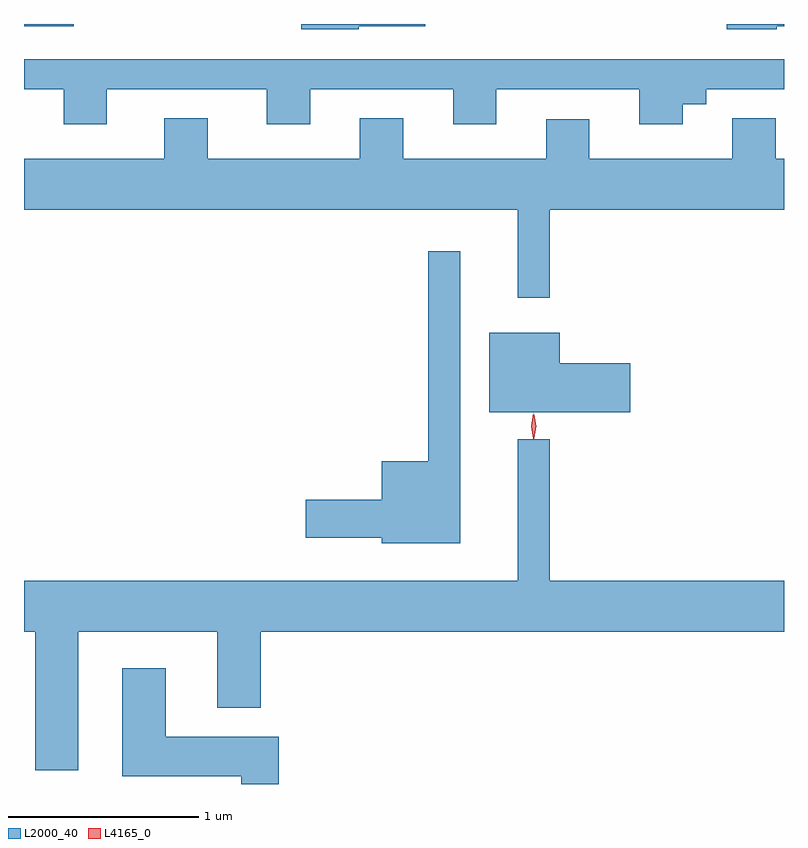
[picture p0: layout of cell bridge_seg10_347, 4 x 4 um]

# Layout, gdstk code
import gdstk
lib = gdstk.Library(unit=1e-6, precision=1e-09)
def R(c, l, rs):  # rectangles x0, y0, x1, y1
    for r in rs: c.add(gdstk.rectangle(r[:2], r[2:], *l))
def P(c, l, *ps):  # polygons
    for p in ps: c.add(gdstk.Polygon(p, *l))
L2000_40 = (2000, 40)
L4165_0 = (4165, 0)

bridge_seg10_347 = lib.new_cell('bridge_seg10_347')
R(bridge_seg10_347, L2000_40, [(1228.323,2179.261,1228.584,2179.274)])
P(bridge_seg10_347, L2000_40, [(1230.085,2179.261),(1230.434,2179.261),(1230.434,2179.274),(1229.781,2179.274),(1229.781,2179.246),(1230.085,2179.246)],
  [(1232.285,2179.261),(1232.323,2179.261),(1232.323,2179.274),(1232.021,2179.274),(1232.021,2179.246),(1232.285,2179.246)],
  [(1228.759,2178.931),(1229.601,2178.931),(1229.601,2178.746),(1229.829,2178.746),(1229.829,2178.931),(1230.581,2178.931),(1230.581,2178.746),(1230.809,2178.746),(1230.809,2178.931),(1231.561,2178.931),(1231.561,2178.746),(1231.789,2178.746),(1231.789,2178.851),(1231.914,2178.851),(1231.914,2178.931),(1232.323,2178.931),(1232.323,2179.089),(1228.323,2179.089),(1228.323,2178.931),(1228.531,2178.931),(1228.531,2178.746),(1228.759,2178.746)],
  [(1230.319,2178.779),(1230.091,2178.779),(1230.091,2178.564),(1229.289,2178.564),(1229.289,2178.779),(1229.061,2178.779),(1229.061,2178.564),(1228.323,2178.564),(1228.323,2178.296),(1230.921,2178.296),(1230.921,2177.833),(1231.089,2177.833),(1231.089,2178.296),(1232.323,2178.296),(1232.323,2178.564),(1232.279,2178.564),(1232.279,2178.779),(1232.051,2178.779),(1232.051,2178.564),(1231.299,2178.564),(1231.299,2178.774),(1231.071,2178.774),(1231.071,2178.564),(1230.319,2178.564)],
  [(1230.619,2178.078),(1230.451,2178.078),(1230.451,2176.974),(1230.206,2176.974),(1230.206,2176.769),(1229.806,2176.769),(1229.806,2176.571),(1230.206,2176.571),(1230.206,2176.541),(1230.619,2176.541)],
  [(1231.514,2177.489),(1231.144,2177.489),(1231.144,2177.649),(1230.771,2177.649),(1230.771,2177.231),(1231.514,2177.231)],
  [(1228.323,2176.076),(1228.381,2176.076),(1228.381,2175.346),(1228.609,2175.346),(1228.609,2176.076),(1229.341,2176.076),(1229.341,2175.676),(1229.569,2175.676),(1229.569,2176.076),(1232.323,2176.076),(1232.323,2176.344),(1231.089,2176.344),(1231.089,2177.088),(1230.921,2177.088),(1230.921,2176.344),(1228.323,2176.344)],
  [(1229.664,2175.524),(1229.069,2175.524),(1229.069,2175.884),(1228.841,2175.884),(1228.841,2175.316),(1229.466,2175.316),(1229.466,2175.274),(1229.664,2175.274)])
P(bridge_seg10_347, L4165_0, [(1231.004,2177.09),(1230.994,2177.158),(1231.004,2177.225),(1231.004,2177.226),(1231.004,2177.225),(1231.014,2177.158),(1231.005,2177.09),(1231.005,2177.09)],
  [(1231.008,2177.093),(1231.008,2177.093),(1230.998,2177.156),(1231.008,2177.22),(1231.008,2177.22),(1231.009,2177.22),(1231.018,2177.156),(1231.009,2177.093)])

lib.write_gds('bridge_seg10_347.gds')
